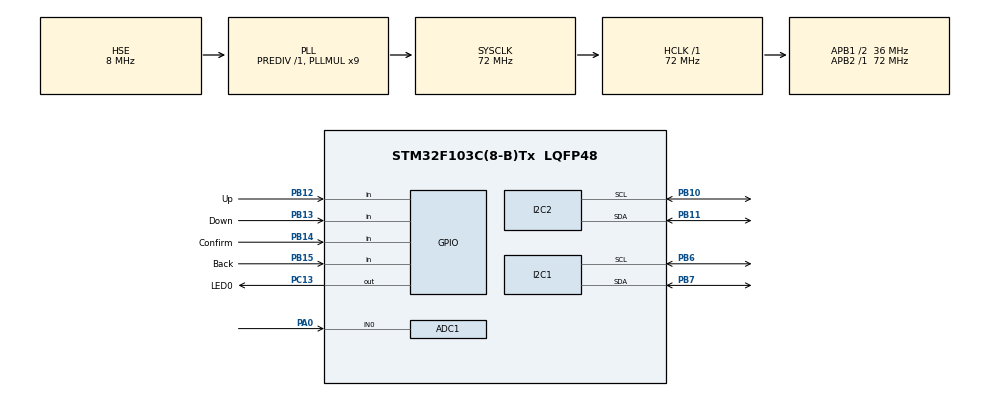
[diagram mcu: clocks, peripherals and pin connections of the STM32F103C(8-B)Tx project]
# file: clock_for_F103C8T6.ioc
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ADC1.Channel-0\#ChannelRegularConversion=ADC_CHANNEL_0
ADC1.ContinuousConvMode=DISABLE
ADC1.NbrOfConversion=1
ADC1.NbrOfConversionFlag=1
ADC1.Rank-0\#ChannelRegularConversion=1
ADC1.SamplingTime-0\#ChannelRegularConversion=ADC_SAMPLETIME_1CYCLE_5
ADC1.master=1
I2C1.I2C_Mode=I2C_Fast
Mcu.Family=STM32F1
Mcu.Name=STM32F103C(8-B)Tx
Mcu.Package=LQFP48
NVIC.ADC1_2_IRQn=true\:4\:0\:true\:false\:true\:true\:true
NVIC.PriorityGroup=NVIC_PRIORITYGROUP_4
NVIC.RTC_IRQn=true\:0\:0\:true\:false\:true\:true\:true
NVIC.TIM4_IRQn=true\:3\:0\:true\:false\:true\:true\:true
PA0-WKUP.Signal=ADCx_IN0
PA13.Mode=Serial_Wire
PA13.Signal=SYS_JTMS-SWDIO
PA14.Mode=Serial_Wire
PA14.Signal=SYS_JTCK-SWCLK
PB10.Mode=I2C
PB10.Signal=I2C2_SCL
PB11.Mode=I2C
PB11.Signal=I2C2_SDA
PB12.GPIO_Label=Up
PB12.GPIO_PuPd=GPIO_PULLUP
PB12.Signal=GPIO_Input
PB13.GPIO_Label=Down
PB13.GPIO_PuPd=GPIO_PULLUP
PB13.Signal=GPIO_Input
PB14.GPIO_Label=Confirm
PB14.GPIO_PuPd=GPIO_PULLUP
PB14.Signal=GPIO_Input
PB15.GPIO_Label=Back
PB15.GPIO_PuPd=GPIO_PULLUP
PB15.Signal=GPIO_Input
PB6.Mode=I2C
PB6.Signal=I2C1_SCL
PB7.Mode=I2C
PB7.Signal=I2C1_SDA
PC13-TAMPER-RTC.GPIO_Label=LED0
PC13-TAMPER-RTC.GPIO_PuPd=GPIO_PULLUP
PC13-TAMPER-RTC.GPIO_Speed=GPIO_SPEED_FREQ_LOW
PC13-TAMPER-RTC.PinState=GPIO_PIN_SET
PC13-TAMPER-RTC.Signal=GPIO_Output
PC14-OSC32_IN.Mode=LSE-External-Oscillator
PC14-OSC32_IN.Signal=RCC_OSC32_IN
PC15-OSC32_OUT.Mode=LSE-External-Oscillator
PC15-OSC32_OUT.Signal=RCC_OSC32_OUT
PD0-OSC_IN.Mode=HSE-External-Oscillator
PD0-OSC_IN.Signal=RCC_OSC_IN
PD1-OSC_OUT.Mode=HSE-External-Oscillator
PD1-OSC_OUT.Signal=RCC_OSC_OUT
ProjectManager.HeapSize=0x200
ProjectManager.StackSize=0x400
ProjectManager.TargetToolchain=STM32CubeIDE
RCC.ADCPresc=RCC_ADCPCLK2_DIV6
RCC.AHBFreq_Value=72000000
RCC.APB1CLKDivider=RCC_HCLK_DIV2
RCC.APB1Freq_Value=36000000
RCC.APB1TimFreq_Value=72000000
RCC.APB2Freq_Value=72000000
RCC.APB2TimFreq_Value=72000000
RCC.HCLKFreq_Value=72000000
RCC.PLLMUL=RCC_PLL_MUL9
RCC.PLLSourceVirtual=RCC_PLLSOURCE_HSE
RCC.RTCClockSelection=RCC_RTCCLKSOURCE_LSE
RCC.SYSCLKFreq_VALUE=72000000
RCC.SYSCLKSource=RCC_SYSCLKSOURCE_PLLCLK
RCC.USBFreq_Value=72000000
RTC.Hours=19
RTC.Minutes=59
RTC.Seconds=50
RTC.Year=25
SH.ADCx_IN0.0=ADC1_IN0,IN0
TIM4.Period=100 - 1
TIM4.Prescaler=7200 - 1
VP_RTC_No_RTC_Output.Mode=RTC_OUT_NO
VP_RTC_VS_RTC_Activate.Mode=RTC_Enabled
VP_RTC_VS_RTC_Calendar.Mode=RTC_Calendar
VP_TIM4_VS_ClockSourceINT.Mode=Internal
board=custom

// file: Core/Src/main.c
/* USER CODE BEGIN Header */
/**
 ******************************************************************************
 * @file           : main.c
 * @brief          : Main program body
 ******************************************************************************
 * @attention
 *
 * <h2><center>&copy; Copyright (c) 2025 STMicroelectronics.
 * All rights reserved.</center></h2>
 *
 * This software component is licensed by ST under BSD 3-Clause license,
 * the "License"; You may not use this file except in compliance with the
 * License. You may obtain a copy of the License at:
 *                        opensource.org/licenses/BSD-3-Clause
 *
 ******************************************************************************
 */

/*
 *====================================================================
 *============================stm32F103C8T6===========================
 *====================================================================
 * */
/* USER CODE END Header */
#include "main.h"
#include "adc.h"
#include "i2c.h"
#include "rtc.h"
#include "tim.h"
#include "gpio.h"

/* USER CODE BEGIN Includes */
#include <stdio.h>
#include "oled.h"
#include "led.h"
#include "key.h"
#include "menu.h"
#include "info.h"
#include "clock.h"
#include "timer.h"
#include "interrupt.h"
/* USER CODE END Includes */

void SystemClock_Config(void);

int main(void)
{
  /* USER CODE BEGIN 1 */
  int menu2 = 1;
  /* USER CODE END 1 */

  /* MCU Configuration--------------------------------------------------------*/

  /* Reset of all peripherals, Initializes the Flash interface and the Systick. */
  HAL_Init();

  /* Configure the system clock */
  SystemClock_Config();

  /* Initialize all configured peripherals */
  MX_GPIO_Init();
  MX_RTC_Init();
  MX_I2C1_Init();
  MX_I2C2_Init();
  MX_TIM4_Init();
  MX_ADC1_Init();
  /* USER CODE BEGIN 2 */
  OLED_Init();
  OLED_NewFrame();
  OLED_ShowFrame();

  /* USER CODE END 2 */

  /* Infinite loop */
  while (1)
  {

    /* USER CODE BEGIN 3 */

    if (menu2 == 1) // 默认界面：显示时�?????
    {
      clock_UI();
    }
    else if (menu2 == 2) // 进入游戏菜单
    {
      menu2_games();
    }
    else if (menu2 == 3)
    {
      timer_UI();
    }
    else if (menu2 == 4)
    {
      menu2_settings();
    }
    else if (menu2 == 5)
    {
      info_message();
    }

    menu2 = menu1();
  }
  /* USER CODE END 3 */
}

void SystemClock_Config(void)
{
  RCC_OscInitTypeDef RCC_OscInitStruct = {0};
  RCC_ClkInitTypeDef RCC_ClkInitStruct = {0};
  RCC_PeriphCLKInitTypeDef PeriphClkInit = {0};

  /** Initializes the RCC Oscillators according to the specified parameters
  * in the RCC_OscInitTypeDef structure.
  */
  RCC_OscInitStruct.OscillatorType = RCC_OSCILLATORTYPE_HSE|RCC_OSCILLATORTYPE_LSE;
  RCC_OscInitStruct.HSEState = RCC_HSE_ON;
  RCC_OscInitStruct.HSEPredivValue = RCC_HSE_PREDIV_DIV1;
  RCC_OscInitStruct.LSEState = RCC_LSE_ON;
  RCC_OscInitStruct.HSIState = RCC_HSI_ON;
  RCC_OscInitStruct.PLL.PLLState = RCC_PLL_ON;
  RCC_OscInitStruct.PLL.PLLSource = RCC_PLLSOURCE_HSE;
  RCC_OscInitStruct.PLL.PLLMUL = RCC_PLL_MUL9;
  if (HAL_RCC_OscConfig(&RCC_OscInitStruct) != HAL_OK)
  {
    Error_Handler();
  }
  /** Initializes the CPU, AHB and APB buses clocks
  */
  RCC_ClkInitStruct.ClockType = RCC_CLOCKTYPE_HCLK|RCC_CLOCKTYPE_SYSCLK
                              |RCC_CLOCKTYPE_PCLK1|RCC_CLOCKTYPE_PCLK2;
  RCC_ClkInitStruct.SYSCLKSource = RCC_SYSCLKSOURCE_PLLCLK;
  RCC_ClkInitStruct.AHBCLKDivider = RCC_SYSCLK_DIV1;
  RCC_ClkInitStruct.APB1CLKDivider = RCC_HCLK_DIV2;
  RCC_ClkInitStruct.APB2CLKDivider = RCC_HCLK_DIV1;

  if (HAL_RCC_ClockConfig(&RCC_ClkInitStruct, FLASH_LATENCY_2) != HAL_OK)
  {
    Error_Handler();
  }
  PeriphClkInit.PeriphClockSelection = RCC_PERIPHCLK_RTC|RCC_PERIPHCLK_ADC;
  PeriphClkInit.RTCClockSelection = RCC_RTCCLKSOURCE_LSE;
  PeriphClkInit.AdcClockSelection = RCC_ADCPCLK2_DIV6;
  if (HAL_RCCEx_PeriphCLKConfig(&PeriphClkInit) != HAL_OK)
  {
    Error_Handler();
  }
}

void Error_Handler(void)
{
  __disable_irq();
  while (1)
  {
  }
}

/************************ (C) COPYRIGHT STMicroelectronics *****END OF FILE****/
